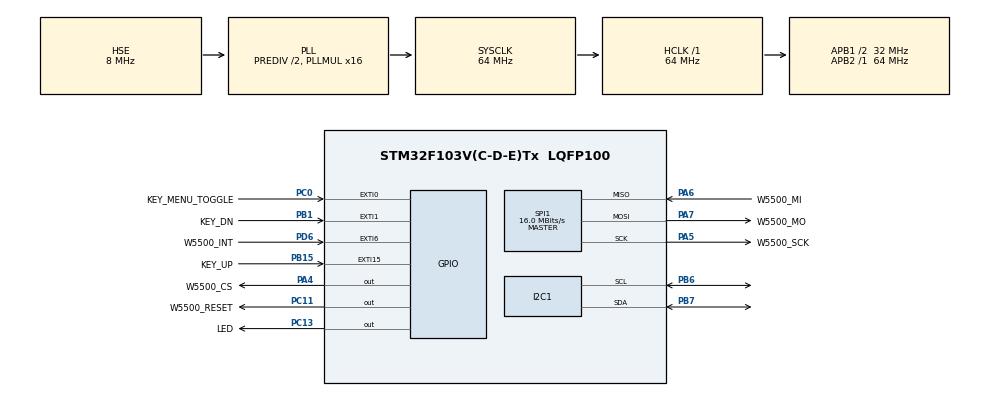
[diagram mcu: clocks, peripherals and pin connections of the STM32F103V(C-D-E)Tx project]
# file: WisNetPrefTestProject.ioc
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Dma.I2C1_TX.0.Direction=DMA_MEMORY_TO_PERIPH
Dma.I2C1_TX.0.Instance=DMA1_Channel6
Dma.I2C1_TX.0.MemDataAlignment=DMA_MDATAALIGN_BYTE
Dma.I2C1_TX.0.MemInc=DMA_MINC_ENABLE
Dma.I2C1_TX.0.Mode=DMA_NORMAL
Dma.I2C1_TX.0.PeriphDataAlignment=DMA_PDATAALIGN_BYTE
Dma.I2C1_TX.0.PeriphInc=DMA_PINC_DISABLE
Dma.I2C1_TX.0.Priority=DMA_PRIORITY_LOW
Dma.Request0=I2C1_TX
I2C1.GeneralCallMode=I2C_GENERALCALL_DISABLE
I2C1.I2C_Mode=I2C_Fast
I2C1.NoStretchMode=I2C_NOSTRETCH_ENABLE
I2C1.OwnAddress=0
Mcu.Family=STM32F1
Mcu.Name=STM32F103V(C-D-E)Tx
Mcu.Package=LQFP100
NVIC.DMA1_Channel6_IRQn=true\:0\:0\:false\:false\:true\:false\:true
NVIC.EXTI0_IRQn=true\:0\:0\:false\:false\:true\:true\:true
NVIC.EXTI15_10_IRQn=true\:0\:0\:false\:false\:true\:true\:true
NVIC.EXTI1_IRQn=true\:0\:0\:false\:false\:true\:true\:true
NVIC.EXTI9_5_IRQn=true\:0\:0\:false\:false\:true\:true\:true
NVIC.I2C1_ER_IRQn=true\:0\:0\:false\:false\:true\:true\:true
NVIC.I2C1_EV_IRQn=true\:0\:0\:false\:false\:true\:true\:true
NVIC.PriorityGroup=NVIC_PRIORITYGROUP_4
NVIC.SPI1_IRQn=true\:0\:0\:false\:false\:true\:true\:true
OSC_IN.Mode=HSE-External-Oscillator
OSC_IN.Signal=RCC_OSC_IN
OSC_OUT.Mode=HSE-External-Oscillator
OSC_OUT.Signal=RCC_OSC_OUT
PA13.Mode=Serial_Wire
PA13.Signal=SYS_JTMS-SWDIO
PA14.Mode=Serial_Wire
PA14.Signal=SYS_JTCK-SWCLK
PA4.GPIO_Label=W5500_CS
PA4.Signal=GPIO_Output
PA5.GPIO_Label=W5500_SCK
PA5.Mode=Full_Duplex_Master
PA5.Signal=SPI1_SCK
PA6.GPIO_Label=W5500_MI
PA6.GPIO_PuPd=GPIO_PULLUP
PA6.Mode=Full_Duplex_Master
PA6.Signal=SPI1_MISO
PA7.GPIO_Label=W5500_MO
PA7.Mode=Full_Duplex_Master
PA7.Signal=SPI1_MOSI
PB1.GPIO_Label=KEY_DN
PB1.GPIO_PuPd=GPIO_PULLUP
PB1.Signal=GPXTI1
PB15.GPIO_Label=KEY_UP
PB15.GPIO_PuPd=GPIO_PULLUP
PB15.Signal=GPXTI15
PB6.GPIO_Mode=GPIO_MODE_AF_OD
PB6.GPIO_Pu=GPIO_PULLUP
PB6.GPIO_Speed=GPIO_SPEED_FREQ_HIGH
PB6.Mode=I2C
PB6.Signal=I2C1_SCL
PB7.GPIO_Mode=GPIO_MODE_AF_OD
PB7.GPIO_Pu=GPIO_PULLUP
PB7.GPIO_Speed=GPIO_SPEED_FREQ_HIGH
PB7.Mode=I2C
PB7.Signal=I2C1_SDA
PC0.GPIO_Label=KEY_MENU_TOGGLE
PC0.Signal=GPXTI0
PC11.GPIO_Label=W5500_RESET
PC11.GPIO_PuPd=GPIO_PULLUP
PC11.Signal=GPIO_Output
PC13-TAMPER-RTC.GPIO_Label=LED
PC13-TAMPER-RTC.GPIO_PuPd=GPIO_PULLUP
PC13-TAMPER-RTC.Signal=GPIO_Output
PC14-OSC32_IN.Mode=LSE-External-Oscillator
PC14-OSC32_IN.Signal=RCC_OSC32_IN
PC15-OSC32_OUT.Mode=LSE-External-Oscillator
PC15-OSC32_OUT.Signal=RCC_OSC32_OUT
PD6.GPIO_Label=W5500_INT
PD6.GPIO_PuPd=GPIO_PULLUP
PD6.Signal=GPXTI6
ProjectManager.HeapSize=0x200
ProjectManager.StackSize=0x400
ProjectManager.TargetToolchain=STM32CubeIDE
RCC.AHBFreq_Value=64000000
RCC.APB1CLKDivider=RCC_HCLK_DIV2
RCC.APB1Freq_Value=32000000
RCC.APB1TimFreq_Value=64000000
RCC.APB2Freq_Value=64000000
RCC.APB2TimFreq_Value=64000000
RCC.EnbaleCSS=true
RCC.HCLKFreq_Value=64000000
RCC.HSEDivPLL=RCC_HSE_PREDIV_DIV2
RCC.PLLMUL=RCC_PLL_MUL16
RCC.PLLSourceVirtual=RCC_PLLSOURCE_HSE
RCC.SYSCLKFreq_VALUE=64000000
RCC.SYSCLKSource=RCC_SYSCLKSOURCE_PLLCLK
RCC.USBFreq_Value=64000000
SPI1.BaudRatePrescaler=SPI_BAUDRATEPRESCALER_4
SPI1.CLKPhase=SPI_PHASE_1EDGE
SPI1.CLKPolarity=SPI_POLARITY_LOW
SPI1.CRCCalculation=SPI_CRCCALCULATION_DISABLE
SPI1.CalculateBaudRate=16.0 MBits/s
SPI1.DataSize=SPI_DATASIZE_8BIT
SPI1.Direction=SPI_DIRECTION_2LINES
SPI1.FirstBit=SPI_FIRSTBIT_MSB
SPI1.Mode=SPI_MODE_MASTER
SPI1.VirtualType=VM_MASTER
TIM1.Channel-Output\ Compare1\ No\ Output=TIM_CHANNEL_1
TIM1.TIM_MasterOutputTrigger=TIM_TRGO_OC1REF
VP_TIM1_VS_ClockSourceINT.Mode=Internal
VP_TIM1_VS_no_output1.Mode=Output Compare1 No Output
board=custom

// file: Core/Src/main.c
/* USER CODE BEGIN Header */
/**
  ******************************************************************************
  * @file           : main.c
  * @brief          : Main program body
  ******************************************************************************
  * @attention
  *
  * <h2><center>&copy; Copyright (c) 2021 STMicroelectronics.
  * All rights reserved.</center></h2>
  *
  * This software component is licensed by ST under BSD 3-Clause license,
  * the "License"; You may not use this file except in compliance with the
  * License. You may obtain a copy of the License at:
  *                        opensource.org/licenses/BSD-3-Clause
  *
  ******************************************************************************
  */
/* USER CODE END Header */
#include "main.h"

/* USER CODE BEGIN Includes */
#include "stdio.h"
#include "image.h"
#include "ssd1306.h"
#include "w5500_defines.h"
#include "parameters.h"
/* USER CODE END Includes */

/* USER CODE BEGIN PTD */
typedef enum {
	MENU_IDLE = 0,
	MENU_PHY_STATS,
	MENU_IP_STATS,
	MENU_DNS,
	MENU_TELNET,

} menus ;

/* USER CODE END PTD */

/* USER CODE BEGIN PD */

/**
 * Количество параметров в массиве свойств
*/
#define PARAMS_COUNT 6
/* USER CODE END PD */

I2C_HandleTypeDef hi2c1;
DMA_HandleTypeDef hdma_i2c1_tx;

SPI_HandleTypeDef hspi1;

TIM_HandleTypeDef htim1;

/* USER CODE BEGIN PV */

/**
 * инициируем перечень параметров
 */
parameter_record params[PARAMS_COUNT];

uint16_t menu_idx;
char line[20];
char status[20];
char TelnetStatus[20];
char retries = 0;
wiz_PhyConf PhyStatus;
uint8_t linkStatus,oldlinkStatus;
/* USER CODE END PV */

void SystemClock_Config(void);
static void MX_GPIO_Init(void);
static void MX_DMA_Init(void);
static void MX_I2C1_Init(void);
static void MX_SPI1_Init(void);
static void MX_TIM1_Init(void);

/* USER CODE BEGIN 0 */
char var_a = -26;
float var_b = 25.234;
char var_c[20] = "test_a";
unsigned char var_d = 26;
double var_e = 67.1235;
char var_f[30] = "Test b";
string_dimensions st_var_c = {.charsCount = 20};
string_dimensions st_var_f = {.charsCount = 30};

void initParameters()
{
	for(uint8_t i = 0; i< PARAMS_COUNT; i++)
		sprintf(params[i].name, "VAR_%c",('A'+i));
			 params[0].format = TYPE_CHAR;
			 params[1].format = TYPE_FLOAT;
			 params[2].format = TYPE_STRING;
			 params[3].format = TYPE_UCHAR;
			 params[4].format = TYPE_DOUBLE;
			 params[5].format = TYPE_STRING;

	params[0].value = &var_a;
	params[1].value = &var_b;
	params[2].value = &var_c;
	params[2].dimensions = &st_var_c;
	params[3].value = &var_d;
	params[4].value = &var_e;
	params[5].value = &var_f;
	params[5].dimensions = &st_var_f;

}

volatile char ip_assigned = 0;

void Callback_IPAssigned(void) {
    //UART_Printf("Callback: IP assigned! Leased time: %d sec\r\n", getDHCPLeasetime());
    ip_assigned = 1;
}

void Callback_IPConflict(void) {
    //UART_Printf("Callback: IP conflict!\r\n");
}

void draw_menu(int menu_index) {
	 ssd1306_Clear();
     ssd1306_SetColor(White);
if (menu_index > 0){
     ssd1306_SetCursor(0, 0);
	    sprintf(line,"%d", menu_index);
	    ssd1306_WriteString(line, Font_7x10);
}
	switch (menu_index){
	case MENU_PHY_STATS: //PHY stats
		ssd1306_SetCursor(8, 0);
		ssd1306_WriteString("PHY stats", Font_7x10);
		ssd1306_SetCursor(80, 0);
		if (PhyStatus.by == PHY_CONFBY_HW)
				ssd1306_WriteString("by HW", Font_7x10);
		if (PhyStatus.by == PHY_CONFBY_SW)
				ssd1306_WriteString("by SW", Font_7x10);

			    ssd1306_SetCursor(0, 11);
			    sprintf(line,"%02X:%02X:%02X:%02X:%02X:%02X",net_info.mac[0],
			    											 net_info.mac[1],
															 net_info.mac[2],
															 net_info.mac[3],
															 net_info.mac[4],
															 net_info.mac[5]);
			    ssd1306_WriteString(line, Font_7x10);
			    ssd1306_SetCursor(0, 22);
			    if (PhyStatus.speed == PHY_SPEED_10)
			    ssd1306_WriteString("10mBit", Font_7x8);
			    if (PhyStatus.speed == PHY_SPEED_100)
			    ssd1306_WriteString("100mBit", Font_7x8);
			    ssd1306_SetCursor(0070, 22);
			    if (PhyStatus.duplex == PHY_DUPLEX_HALF)
			    ssd1306_WriteString("Half", Font_7x8);
			   	if (PhyStatus.duplex == PHY_DUPLEX_FULL)
			   	ssd1306_WriteString("Full", Font_7x8);
			   	ssd1306_SetCursor(90, 22);
			   						    if (PhyStatus.mode == PHY_MODE_MANUAL)
			   						    ssd1306_WriteString("man", Font_7x8);
			   						   if (PhyStatus.mode == PHY_MODE_AUTONEGO)
			   						   ssd1306_WriteString("auto", Font_7x8);

	break;
	case MENU_IP_STATS: //IPv4
		ssd1306_SetCursor(8, 0);
        ssd1306_WriteString("IP stats", Font_7x10);
        ssd1306_SetCursor(80, 0);
        		    if (ip_assigned){
     			    ssd1306_WriteString("dhcp", Font_7x10);
     			    } else {
     			    if (linkStatus == PHY_LINK_ON)
     			    ssd1306_WriteString("stat", Font_7x10);
     			    else {
     			    	ssd1306_WriteString("discon", Font_7x10);
     			    }
     			    }	uint32_t temp_sn = net_info.sn[0]<<24|net_info.sn[1]<<16|net_info.sn[2]<<8|net_info.sn[3];
	    char sn_slashed = 0;
	    ssd1306_SetColor(White);
   	  	ssd1306_SetCursor(0, 11);

	    for( char i =0; i < 32;i++){sn_slashed += (temp_sn>>i)&0x00000001;}
	  	sprintf(line,"%03d.%03d.%03d.%03d/%02d", net_info.ip[0],net_info.ip[1],net_info.ip[2],net_info.ip[3],sn_slashed);
	    ssd1306_WriteString(line, Font_7x8);
	    ssd1306_SetCursor(0, 22);
	    sprintf(line,"lease:%li", getDHCPLeasetime());
	  	ssd1306_WriteString(line, Font_7x8);

	break;
	case MENU_DNS:
			ssd1306_SetCursor(8, 0);
			ssd1306_WriteString("DNS stats", Font_7x10);
		    ssd1306_SetCursor(0, 11);
			sprintf(line,"dns%3d.%3d.%3d.%3d", net_info.dns[0],net_info.dns[1],net_info.dns[2],net_info.dns[3]);
		    ssd1306_WriteString(line, Font_7x8);
		    ssd1306_SetCursor(0, 22);
		    sprintf(line,"gw:%03d.%03d.%03d.%03d", net_info.gw[0],net_info.gw[1],net_info.gw[2],net_info.gw[3]);
		    ssd1306_WriteString(line, Font_7x8);

		break;
	case MENU_TELNET:
			ssd1306_SetCursor(8, 0);
			ssd1306_WriteString("TCP Server", Font_7x10);
		    ssd1306_SetCursor(80, 0);
			sprintf(line,"(%5d)", telnetConfigServer_getPort());
		    ssd1306_WriteString(line, Font_7x8);
		    ssd1306_SetCursor(0, 11);
		    switch (telnetConfigServer_SocketStatus()){
		    case SOCK_INIT:
		    	ssd1306_WriteString("Status:INIT", Font_7x8);
		    	break;
		    case SOCK_LISTEN:
		    	ssd1306_WriteString("Status:LISTEN", Font_7x8);
		    	break;
		    case SOCK_ESTABLISHED:
		    	ssd1306_WriteString("Status:ESTABLISHED", Font_7x8);
		    	break;
		    case SOCK_CLOSE_WAIT:
		   		    	ssd1306_WriteString("Status:CLOSE_WAIT", Font_7x8);
		   		    	break;
		    case SOCK_CLOSED:
		   		    	ssd1306_WriteString("Status:CLOSED", Font_7x8);
		   		    	break;
		   		    }
		    ssd1306_SetCursor(0, 22);
		    switch (telnetConfigServer_SocketProcess()){
		    case SOCKET_IDLE: ssd1306_WriteString("Process:IDLE", Font_7x8); break;
		    case SOCKET_RECEIVE: ssd1306_WriteString("Process:RECEIVE", Font_7x8); break;
		    case SOCKET_TRANSMIT: ssd1306_WriteString("Process:TRANSMIT", Font_7x8); 	break;
		    }

		break;

	case MENU_IDLE:
	default:
		   if (linkStatus == PHY_LINK_ON){
		   	   	ssd1306_DrawBitmap(0, 0, 13, 8, icon_13x8_link_conn);
		        } else {
		        ssd1306_DrawBitmap(0, 0, 13, 8, icon_13x8_link_empty);
		        }
			    if (ip_assigned){
			    	ssd1306_DrawBitmap(15, 0, 12, 8, icon_12x8_dhcp);
			    } else {
			    if (linkStatus == PHY_LINK_ON)
			    	ssd1306_DrawBitmap(15, 0, 12, 8, icon_12x8_static);
			    else {
			    	ssd1306_DrawBitmap(15, 0, 12, 8, icon_12x8_discon);
			    }
			    }
			    switch (telnetConfigServer_SocketStatus()){
			    case SOCK_INIT:
			    	sprintf(TelnetStatus,"Telnet init");
			    break;
			    case SOCK_LISTEN:
			    	sprintf(TelnetStatus,"Telnet listen");
			    	break;
			    case SOCK_ESTABLISHED:
			    	sprintf(TelnetStatus,"Client connected");
			    	ssd1306_DrawBitmap(30, 0, 12, 8, icon_12x8_connector);break;
			    case SOCK_CLOSE_WAIT:
			    			    	sprintf(TelnetStatus,"Client disconnect");
			    			    	break;
			    case SOCK_CLOSED:
			    			    	sprintf(TelnetStatus," ");
			    			    	break;
			    			    }
			    switch (telnetConfigServer_SocketProcess()){
			    case SOCKET_IDLE:
			    			   			    	ssd1306_DrawBitmap(44, 0, 12, 8, icon_12x8_TRX);
			    			   			    	break;
			    case SOCKET_RECEIVE:
			    			   			    	ssd1306_DrawBitmap(44, 0, 12, 8, icon_12x8_RX);
			    			   			    	break;
			    case SOCKET_TRANSMIT:
			    			   			    	ssd1306_DrawBitmap(44, 0, 12, 8, icon_12x8_TX);
			    			   			    	break;
			    			   			    }

			    ssd1306_SetCursor(00, 11);
			    ssd1306_WriteString(TelnetStatus, Font_7x8);
			    ssd1306_SetCursor(00, 22);
			    ssd1306_WriteString(status, Font_7x8);
	}

	ssd1306_UpdateScreen();
}
void w5500_init() {
	//registration callbacks
	 reg_wizchip_cs_cbfunc(W5500_Select, W5500_Unselect);
	    reg_wizchip_spi_cbfunc(W5500_ReadByte, W5500_WriteByte);
	    reg_wizchip_spiburst_cbfunc(W5500_ReadBuff, W5500_WriteBuff);
	    draw_menu(menu_idx);
	    //Calling wizchip_init()...
	       uint8_t rx_tx_buff_sizes[] = {2, 2, 2, 2, 2, 2, 2, 2};
	       wizchip_init(rx_tx_buff_sizes, rx_tx_buff_sizes);
	       draw_menu(menu_idx);
	       setSHAR(net_info.mac);
	       getSHAR(net_info.mac);
	       draw_menu(menu_idx);
	       reg_dhcp_cbfunc(
	       			              Callback_IPAssigned,
	       			              Callback_IPAssigned,
	       			              Callback_IPConflict
	       );

          sprintf(status,"Init complete");

}

void INTkeyMenu_handler() {menu_idx= 0;}
void INTkeyUp_handler() {menu_idx++; menu_idx %=5;}
void INTkeyDown_handler() {menu_idx +=4;menu_idx %=5;}
void INTW5500_Handler() {  sprintf(status,"INT W5500"); telnetConfigServer_InterruptCallback();}

/* USER CODE END 0 */

int main(void)
{

  /* MCU Configuration--------------------------------------------------------*/

  /* Reset of all peripherals, Initializes the Flash interface and the Systick. */
  HAL_Init();

  /* Configure the system clock */
  SystemClock_Config();

  /* Initialize all configured peripherals */
  MX_GPIO_Init();
  MX_DMA_Init();
  MX_I2C1_Init();
  MX_SPI1_Init();
  MX_TIM1_Init();
  /* USER CODE BEGIN 2 */
  HAL_Delay(500);
  ssd1306_Init();
  ssd1306_FlipScreenVertically();
  ssd1306_UpdateScreen();
  sprintf(status,"Init display");
  draw_menu(0);
  HAL_SPI_Init(&hspi1);
  HAL_GPIO_WritePin(W5500_RESET_GPIO_Port, W5500_RESET_Pin, GPIO_PIN_RESET);
  HAL_Delay(1);
  HAL_GPIO_WritePin(W5500_RESET_GPIO_Port, W5500_RESET_Pin, GPIO_PIN_SET);
  sprintf(status,"Reset W5500");
  draw_menu(0);

  sprintf(status,"Init W5500");

  w5500_init();
  linkParametersStorage(&params,PARAMS_COUNT);
  initParameters();

  /* USER CODE END 2 */

  /* Infinite loop */
  /* USER CODE BEGIN WHILE */
  while (1)
  {
	 // loop();
	  HAL_Delay(100);
	  draw_menu(menu_idx);
	  linkStatus = wizphy_getphylink();
	  wizphy_getphystat(&PhyStatus);
	  if (linkStatus != oldlinkStatus  && linkStatus == PHY_LINK_OFF) { // Кабель подключили
	       sprintf(status,"Cable disconnected");
			       draw_menu(0);
			       telnetConfigServer_SocketClose();
			       ip_assigned = 0;

	  }
	  if (linkStatus != oldlinkStatus  && linkStatus == PHY_LINK_ON) { // Кабель подключили
		  sprintf(status,"Cable connected");
		  draw_menu(0);
		  net_info.dhcp = NETINFO_DHCP;
		  wizchip_setnetinfo(&net_info);

		    DHCP_init(DHCP_SOCKET, dhcp_buffer);
			       sprintf(status,"DHCP discovering");
			       draw_menu(0);
			       uint32_t ctr = 10000;
			        while((!ip_assigned) && (ctr > 0)) {
			            DHCP_run();
			            ctr--;
			            HAL_Delay(1);
			        }
			        if(!ip_assigned && retries < 5) {
			        	draw_menu(0);
			        	retries++;
			        	linkStatus = PHY_LINK_OFF; //инициируем retry
					       sprintf(status,"DHCP not found");
					       draw_menu(0);
					       HAL_Delay(300);
					 }
			        else {
			        	if(ip_assigned){
			        	retries = 0;
                   sprintf(status,"Assign network");
			       draw_menu(0);

			       getIPfromDHCP(net_info.ip);
			       getGWfromDHCP(net_info.gw);
			       getSNfromDHCP(net_info.sn);
			       sprintf(status,"Find DNS server");
			       draw_menu(0);

			       getDNSfromDHCP(net_info.dns);
			       } else {net_info.dhcp = NETINFO_STATIC;}
			       sprintf(status,"Store Net config");
			       draw_menu(0);
			       wizchip_setnetinfo(&net_info);
			       sprintf(status,"Ready");
			       			       draw_menu(0);
			       			    telnetConfigServer_Init(3324);
			       			    telnetConfigServer_SocketOpen();
			       }
	  }
	  oldlinkStatus = linkStatus;
	  telnetConfigServer_InterruptCallback();
    /* USER CODE END WHILE */

  }
}

void SystemClock_Config(void)
{
  RCC_OscInitTypeDef RCC_OscInitStruct = {0};
  RCC_ClkInitTypeDef RCC_ClkInitStruct = {0};

  /** Initializes the RCC Oscillators according to the specified parameters
  * in the RCC_OscInitTypeDef structure.
  */
  RCC_OscInitStruct.OscillatorType = RCC_OSCILLATORTYPE_HSE;
  RCC_OscInitStruct.HSEState = RCC_HSE_ON;
  RCC_OscInitStruct.HSEPredivValue = RCC_HSE_PREDIV_DIV2;
  RCC_OscInitStruct.HSIState = RCC_HSI_ON;
  RCC_OscInitStruct.PLL.PLLState = RCC_PLL_ON;
  RCC_OscInitStruct.PLL.PLLSource = RCC_PLLSOURCE_HSE;
  RCC_OscInitStruct.PLL.PLLMUL = RCC_PLL_MUL16;
  if (HAL_RCC_OscConfig(&RCC_OscInitStruct) != HAL_OK)
  {
    Error_Handler();
  }
  /** Initializes the CPU, AHB and APB buses clocks
  */
  RCC_ClkInitStruct.ClockType = RCC_CLOCKTYPE_HCLK|RCC_CLOCKTYPE_SYSCLK
                              |RCC_CLOCKTYPE_PCLK1|RCC_CLOCKTYPE_PCLK2;
  RCC_ClkInitStruct.SYSCLKSource = RCC_SYSCLKSOURCE_PLLCLK;
  RCC_ClkInitStruct.AHBCLKDivider = RCC_SYSCLK_DIV1;
  RCC_ClkInitStruct.APB1CLKDivider = RCC_HCLK_DIV2;
  RCC_ClkInitStruct.APB2CLKDivider = RCC_HCLK_DIV1;

  if (HAL_RCC_ClockConfig(&RCC_ClkInitStruct, FLASH_LATENCY_2) != HAL_OK)
  {
    Error_Handler();
  }
  /** Enables the Clock Security System
  */
  HAL_RCC_EnableCSS();
}

static void MX_I2C1_Init(void)
{

  hi2c1.Instance = I2C1;
  hi2c1.Init.ClockSpeed = 400000;
  hi2c1.Init.DutyCycle = I2C_DUTYCYCLE_2;
  hi2c1.Init.OwnAddress1 = 0;
  hi2c1.Init.AddressingMode = I2C_ADDRESSINGMODE_7BIT;
  hi2c1.Init.DualAddressMode = I2C_DUALADDRESS_DISABLE;
  hi2c1.Init.OwnAddress2 = 0;
  hi2c1.Init.GeneralCallMode = I2C_GENERALCALL_DISABLE;
  hi2c1.Init.NoStretchMode = I2C_NOSTRETCH_ENABLE;
  if (HAL_I2C_Init(&hi2c1) != HAL_OK)
  {
    Error_Handler();
  }

}

static void MX_SPI1_Init(void)
{

  /* SPI1 parameter configuration*/
  hspi1.Instance = SPI1;
  hspi1.Init.Mode = SPI_MODE_MASTER;
  hspi1.Init.Direction = SPI_DIRECTION_2LINES;
  hspi1.Init.DataSize = SPI_DATASIZE_8BIT;
  hspi1.Init.CLKPolarity = SPI_POLARITY_LOW;
  hspi1.Init.CLKPhase = SPI_PHASE_1EDGE;
  hspi1.Init.NSS = SPI_NSS_SOFT;
  hspi1.Init.BaudRatePrescaler = SPI_BAUDRATEPRESCALER_4;
  hspi1.Init.FirstBit = SPI_FIRSTBIT_MSB;
  hspi1.Init.TIMode = SPI_TIMODE_DISABLE;
  hspi1.Init.CRCCalculation = SPI_CRCCALCULATION_DISABLE;
  hspi1.Init.CRCPolynomial = 10;
  if (HAL_SPI_Init(&hspi1) != HAL_OK)
  {
    Error_Handler();
  }

}

static void MX_TIM1_Init(void)
{

  TIM_ClockConfigTypeDef sClockSourceConfig = {0};
  TIM_MasterConfigTypeDef sMasterConfig = {0};
  TIM_OC_InitTypeDef sConfigOC = {0};
  TIM_BreakDeadTimeConfigTypeDef sBreakDeadTimeConfig = {0};

  htim1.Instance = TIM1;
  htim1.Init.Prescaler = 0;
  htim1.Init.CounterMode = TIM_COUNTERMODE_UP;
  htim1.Init.Period = 65535;
  htim1.Init.ClockDivision = TIM_CLOCKDIVISION_DIV1;
  htim1.Init.RepetitionCounter = 0;
  htim1.Init.AutoReloadPreload = TIM_AUTORELOAD_PRELOAD_DISABLE;
  if (HAL_TIM_Base_Init(&htim1) != HAL_OK)
  {
    Error_Handler();
  }
  sClockSourceConfig.ClockSource = TIM_CLOCKSOURCE_INTERNAL;
  if (HAL_TIM_ConfigClockSource(&htim1, &sClockSourceConfig) != HAL_OK)
  {
    Error_Handler();
  }
  if (HAL_TIM_OC_Init(&htim1) != HAL_OK)
  {
    Error_Handler();
  }
  sMasterConfig.MasterOutputTrigger = TIM_TRGO_OC1REF;
  sMasterConfig.MasterSlaveMode = TIM_MASTERSLAVEMODE_DISABLE;
  if (HAL_TIMEx_MasterConfigSynchronization(&htim1, &sMasterConfig) != HAL_OK)
  {
    Error_Handler();
  }
  sConfigOC.OCMode = TIM_OCMODE_TIMING;
  sConfigOC.Pulse = 0;
  sConfigOC.OCPolarity = TIM_OCPOLARITY_HIGH;
  sConfigOC.OCNPolarity = TIM_OCNPOLARITY_HIGH;
  sConfigOC.OCFastMode = TIM_OCFAST_DISABLE;
  sConfigOC.OCIdleState = TIM_OCIDLESTATE_RESET;
  sConfigOC.OCNIdleState = TIM_OCNIDLESTATE_RESET;
  if (HAL_TIM_OC_ConfigChannel(&htim1, &sConfigOC, TIM_CHANNEL_1) != HAL_OK)
  {
    Error_Handler();
  }
  sBreakDeadTimeConfig.OffStateRunMode = TIM_OSSR_DISABLE;
  sBreakDeadTimeConfig.OffStateIDLEMode = TIM_OSSI_DISABLE;
  sBreakDeadTimeConfig.LockLevel = TIM_LOCKLEVEL_OFF;
  sBreakDeadTimeConfig.DeadTime = 0;
  sBreakDeadTimeConfig.BreakState = TIM_BREAK_DISABLE;
  sBreakDeadTimeConfig.BreakPolarity = TIM_BREAKPOLARITY_HIGH;
  sBreakDeadTimeConfig.AutomaticOutput = TIM_AUTOMATICOUTPUT_DISABLE;
  if (HAL_TIMEx_ConfigBreakDeadTime(&htim1, &sBreakDeadTimeConfig) != HAL_OK)
  {
    Error_Handler();
  }

}

static void MX_DMA_Init(void)
{

  /* DMA controller clock enable */
  __HAL_RCC_DMA1_CLK_ENABLE();

  /* DMA interrupt init */
  /* DMA1_Channel6_IRQn interrupt configuration */
  HAL_NVIC_SetPriority(DMA1_Channel6_IRQn, 0, 0);
  HAL_NVIC_EnableIRQ(DMA1_Channel6_IRQn);

}

static void MX_GPIO_Init(void)
{
  GPIO_InitTypeDef GPIO_InitStruct = {0};

  /* GPIO Ports Clock Enable */
  __HAL_RCC_GPIOC_CLK_ENABLE();
  __HAL_RCC_GPIOA_CLK_ENABLE();
  __HAL_RCC_GPIOB_CLK_ENABLE();
  __HAL_RCC_GPIOD_CLK_ENABLE();

  /*Configure GPIO pin Output Level */
  HAL_GPIO_WritePin(GPIOC, LED_Pin|W5500_RESET_Pin, GPIO_PIN_RESET);

  /*Configure GPIO pin Output Level */
  HAL_GPIO_WritePin(W5500_CS_GPIO_Port, W5500_CS_Pin, GPIO_PIN_RESET);

  /*Configure GPIO pins : LED_Pin W5500_RESET_Pin */
  GPIO_InitStruct.Pin = LED_Pin|W5500_RESET_Pin;
  GPIO_InitStruct.Mode = GPIO_MODE_OUTPUT_PP;
  GPIO_InitStruct.Pull = GPIO_PULLUP;
  GPIO_InitStruct.Speed = GPIO_SPEED_FREQ_LOW;
  HAL_GPIO_Init(GPIOC, &GPIO_InitStruct);

  /*Configure GPIO pin : KEY_MENU_TOGGLE_Pin */
  GPIO_InitStruct.Pin = KEY_MENU_TOGGLE_Pin;
  GPIO_InitStruct.Mode = GPIO_MODE_IT_RISING;
  GPIO_InitStruct.Pull = GPIO_NOPULL;
  HAL_GPIO_Init(KEY_MENU_TOGGLE_GPIO_Port, &GPIO_InitStruct);

  /*Configure GPIO pin : W5500_CS_Pin */
  GPIO_InitStruct.Pin = W5500_CS_Pin;
  GPIO_InitStruct.Mode = GPIO_MODE_OUTPUT_PP;
  GPIO_InitStruct.Pull = GPIO_NOPULL;
  GPIO_InitStruct.Speed = GPIO_SPEED_FREQ_LOW;
  HAL_GPIO_Init(W5500_CS_GPIO_Port, &GPIO_InitStruct);

  /*Configure GPIO pins : KEY_DN_Pin KEY_UP_Pin */
  GPIO_InitStruct.Pin = KEY_DN_Pin|KEY_UP_Pin;
  GPIO_InitStruct.Mode = GPIO_MODE_IT_RISING;
  GPIO_InitStruct.Pull = GPIO_PULLUP;
  HAL_GPIO_Init(GPIOB, &GPIO_InitStruct);

  /*Configure GPIO pin : W5500_INT_Pin */
  GPIO_InitStruct.Pin = W5500_INT_Pin;
  GPIO_InitStruct.Mode = GPIO_MODE_IT_RISING;
  GPIO_InitStruct.Pull = GPIO_PULLUP;
  HAL_GPIO_Init(W5500_INT_GPIO_Port, &GPIO_InitStruct);

  /* EXTI interrupt init*/
  HAL_NVIC_SetPriority(EXTI0_IRQn, 0, 0);
  HAL_NVIC_EnableIRQ(EXTI0_IRQn);

  HAL_NVIC_SetPriority(EXTI1_IRQn, 0, 0);
  HAL_NVIC_EnableIRQ(EXTI1_IRQn);

  HAL_NVIC_SetPriority(EXTI9_5_IRQn, 0, 0);
  HAL_NVIC_EnableIRQ(EXTI9_5_IRQn);

  HAL_NVIC_SetPriority(EXTI15_10_IRQn, 0, 0);
  HAL_NVIC_EnableIRQ(EXTI15_10_IRQn);

}

void Error_Handler(void)
{
  __disable_irq();
  while (1)
  {
  }
}
